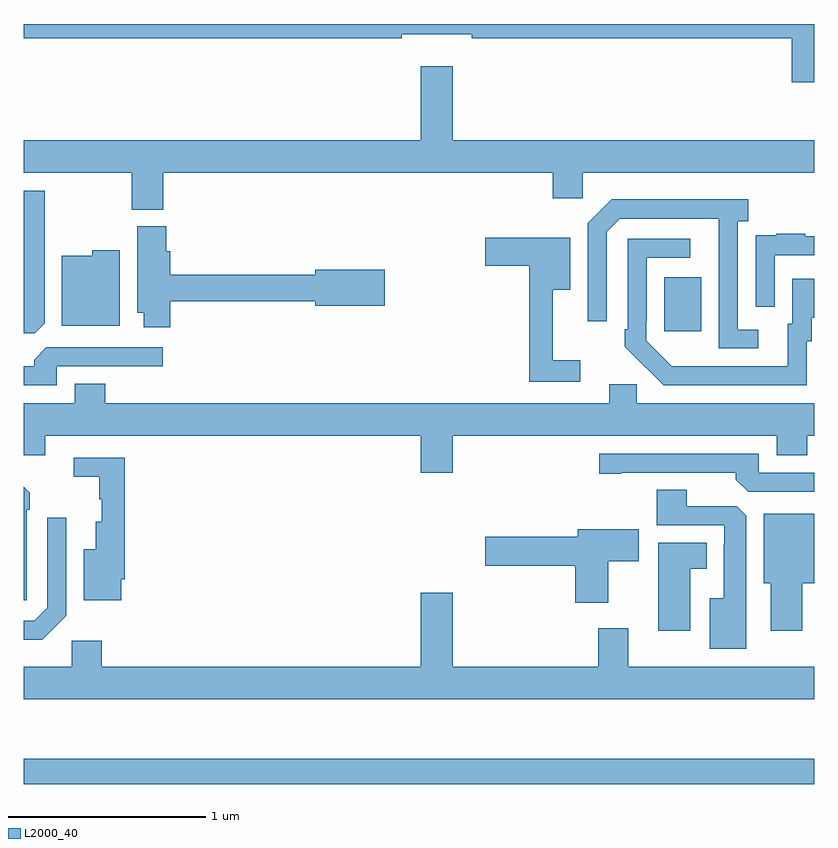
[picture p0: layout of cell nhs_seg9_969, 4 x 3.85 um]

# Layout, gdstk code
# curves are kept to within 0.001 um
import gdstk
lib = gdstk.Library(unit=1e-6, precision=1e-09)
def R(c, l, rs):  # rectangles x0, y0, x1, y1
    for r in rs: c.add(gdstk.rectangle(r[:2], r[2:], *l))
def P(c, l, *ps):  # polygons
    for p in ps: c.add(gdstk.Polygon(p, *l))
L2000_40 = (2000, 40)

nhs_seg9_969 = lib.new_cell('nhs_seg9_969')
R(nhs_seg9_969, L2000_40, [(163,1198.654,167,1198.783), (166.241,1200.945,166.429,1201.219)])
P(nhs_seg9_969, L2000_40, [(167,1202.5),(163,1202.5),(163,1202.428),(164.912,1202.428),(164.912,1202.447),(165.268,1202.447),(165.268,1202.428),(166.886,1202.428),(166.886,1202.205),(167,1202.205)],
  [(163.706,1201.748),(165.677,1201.748),(165.677,1201.617),(165.828,1201.617),(165.828,1201.748),(167,1201.748),(167,1201.912),(165.172,1201.912),(165.172,1202.287),(165.008,1202.287),(165.008,1201.912),(163,1201.912),(163,1201.748),(163.546,1201.748),(163.546,1201.561),(163.706,1201.561)],
  [(163.105,1200.985),(163.105,1201.657),(163,1201.657),(163,1200.936),(163.056,1200.936)],
  [(166.717,1200.954),(166.614,1200.954),(166.614,1201.502),(166.666,1201.502),(166.666,1201.612),(165.976,1201.612),(165.855,1201.491),(165.855,1200.996),(165.951,1200.996),(165.951,1201.449),(166.017,1201.515),(166.517,1201.515),(166.518,1200.858),(166.717,1200.858)],
  [(163.742,1201.096),(164.474,1201.096),(164.474,1201.073),(164.827,1201.073),(164.827,1201.256),(164.474,1201.256),(164.474,1201.232),(163.742,1201.232),(163.742,1201.35),(163.721,1201.35),(163.721,1201.476),(163.574,1201.476),(163.574,1201.04),(163.607,1201.04),(163.607,1200.966),(163.742,1200.966)],
  [(166.8,1201.329),(167,1201.329),(167,1201.425),(166.955,1201.425),(166.955,1201.438),(166.807,1201.438),(166.807,1201.431),(166.705,1201.431),(166.705,1201.322),(166.704,1201.322),(166.704,1201.068),(166.8,1201.068)],
  [(165.817,1200.799),(165.677,1200.799),(165.677,1201.154),(165.766,1201.154),(165.766,1201.419),(165.336,1201.419),(165.336,1201.277),(165.559,1201.277),(165.559,1200.69),(165.817,1200.69)],
  [(166.962,1200.894),(166.987,1200.894),(166.987,1201.013),(167,1201.013),(167,1201.21),(166.889,1201.21),(166.889,1200.984),(166.865,1200.984),(166.865,1200.768),(166.278,1200.769),(166.149,1200.897),(166.149,1200.997),(166.152,1200.997),(166.152,1201.317),(166.372,1201.317),(166.372,1201.413),(166.056,1201.413),(166.056,1200.955),(166.041,1200.955),(166.041,1200.867),(166.238,1200.672),(166.962,1200.672)],
  [(163.486,1201.354),(163.347,1201.354),(163.347,1201.327),(163.193,1201.327),(163.193,1200.974),(163.486,1200.974)],
  [(163.167,1200.768),(163.702,1200.768),(163.702,1200.864),(163.113,1200.864),(163.052,1200.802),(163.052,1200.768),(163,1200.768),(163,1200.672),(163.167,1200.672)],
  [(165.172,1200.416),(166.811,1200.416),(166.811,1200.317),(166.964,1200.317),(166.964,1200.416),(167,1200.416),(167,1200.58),(166.101,1200.58),(166.101,1200.678),(165.962,1200.678),(165.962,1200.58),(163.412,1200.58),(163.412,1200.679),(163.259,1200.679),(163.259,1200.58),(163,1200.58),(163,1200.318),(163.108,1200.318),(163.108,1200.416),(165.008,1200.416),(165.008,1200.228),(165.172,1200.228)],
  [(167,1200.228),(166.719,1200.228),(166.719,1200.324),(165.912,1200.324),(165.912,1200.223),(166.024,1200.223),(166.024,1200.228),(166.604,1200.228),(166.604,1200.194),(166.665,1200.132),(167,1200.132)],
  [(163.492,1199.689),(163.511,1199.689),(163.511,1200.306),(163.254,1200.306),(163.254,1200.208),(163.383,1200.208),(163.383,1200.095),(163.394,1200.095),(163.394,1199.98),(163.364,1199.98),(163.364,1199.842),(163.304,1199.842),(163.304,1199.585),(163.492,1199.585)],
  [(163.014,1200.041),(163.029,1200.041),(163.029,1200.129),(163,1200.158),(163,1199.583),(163.014,1199.583)],
  [(166.657,1200.011),(166.608,1200.06),(166.354,1200.06),(166.354,1200.143),(166.202,1200.143),(166.202,1199.964),(166.545,1199.964),(166.545,1199.867),(166.541,1199.867),(166.541,1199.593),(166.472,1199.593),(166.472,1199.339),(166.657,1199.339)],
  [(166.939,1199.669),(167,1199.669),(167,1200.022),(166.745,1200.022),(166.745,1199.669),(166.781,1199.669),(166.781,1199.43),(166.939,1199.43)],
  [(163.215,1199.505),(163.215,1200.001),(163.119,1200.001),(163.119,1199.547),(163.053,1199.481),(163,1199.481),(163,1199.384),(163.094,1199.384)],
  [(165.958,1199.782),(166.111,1199.782),(166.111,1199.944),(165.803,1199.944),(165.803,1199.906),(165.336,1199.906),(165.336,1199.759),(165.791,1199.759),(165.791,1199.571),(165.958,1199.571)],
  [(166.372,1199.744),(166.456,1199.744),(166.456,1199.875),(166.211,1199.875),(166.211,1199.43),(166.372,1199.43)],
  [(167,1199.248),(166.06,1199.248),(166.06,1199.443),(165.908,1199.443),(165.908,1199.248),(165.172,1199.248),(165.172,1199.623),(165.008,1199.623),(165.008,1199.248),(163.394,1199.248),(163.394,1199.38),(163.242,1199.38),(163.242,1199.248),(163,1199.248),(163,1199.084),(167,1199.084)])

lib.write_gds('nhs_seg9_969.gds')
